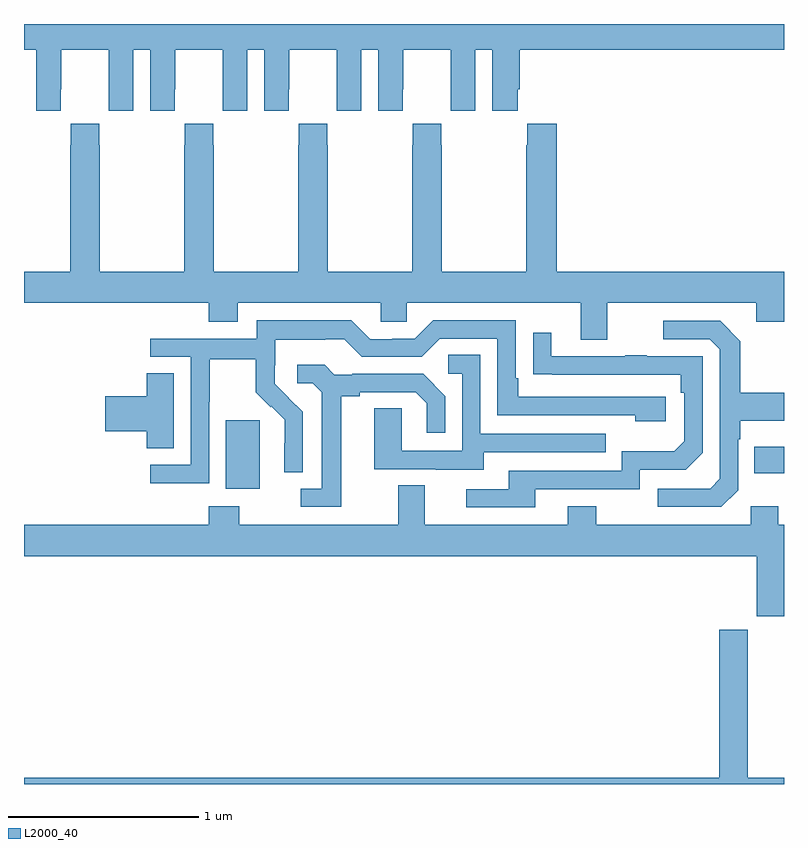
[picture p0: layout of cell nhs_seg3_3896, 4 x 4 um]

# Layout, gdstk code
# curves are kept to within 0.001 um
import gdstk
lib = gdstk.Library(unit=1e-6, precision=1e-09)
def R(c, l, rs):  # rectangles x0, y0, x1, y1
    for r in rs: c.add(gdstk.rectangle(r[:2], r[2:], *l))
def P(c, l, *ps):  # polygons
    for p in ps: c.add(gdstk.Polygon(p, *l))
L2000_40 = (2000, 40)

nhs_seg3_3896 = lib.new_cell('nhs_seg3_3896')
R(nhs_seg3_3896, L2000_40, [(314.063,683.954,314.242,684.315), (316.843,684.035,317,684.175)])
P(nhs_seg3_3896, L2000_40, [(313.194,686.056),(313.195,686.056),(313.195,686.264),(313.445,686.264),(313.445,686.056),(313.446,686.056),(313.446,685.944),(313.576,685.944),(313.576,686.264),(313.664,686.264),(313.664,685.944),(313.794,685.944),(313.794,686.056),(313.795,686.056),(313.795,686.264),(314.045,686.264),(314.045,686.056),(314.046,686.056),(314.046,685.944),(314.176,685.944),(314.176,686.264),(314.264,686.264),(314.264,685.944),(314.394,685.944),(314.394,686.056),(314.395,686.056),(314.395,686.264),(314.645,686.264),(314.645,686.056),(314.646,686.056),(314.646,685.944),(314.776,685.944),(314.776,686.264),(314.864,686.264),(314.864,685.944),(314.994,685.944),(314.994,686.056),(314.995,686.056),(314.995,686.264),(315.245,686.264),(315.245,686.056),(315.246,686.056),(315.246,685.944),(315.376,685.944),(315.376,686.264),(315.464,686.264),(315.464,685.944),(315.598,685.944),(315.598,686.056),(315.608,686.056),(315.608,686.264),(317,686.264),(317,686.4),(313,686.4),(313,686.264),(313.064,686.264),(313.064,685.944),(313.194,685.944)],
  [(316.069,684.932),(316.853,684.932),(316.853,684.833),(317,684.833),(317,685.096),(315.803,685.096),(315.803,685.876),(315.649,685.876),(315.649,685.763),(315.643,685.763),(315.643,685.096),(315.198,685.096),(315.198,685.763),(315.195,685.763),(315.195,685.876),(315.045,685.876),(315.045,685.763),(315.043,685.763),(315.043,685.096),(314.598,685.096),(314.598,685.763),(314.595,685.763),(314.595,685.876),(314.445,685.876),(314.445,685.763),(314.443,685.763),(314.443,685.096),(313.998,685.096),(313.998,685.763),(313.995,685.763),(313.995,685.876),(313.845,685.876),(313.845,685.763),(313.843,685.763),(313.843,685.096),(313.398,685.096),(313.398,685.763),(313.395,685.763),(313.395,685.876),(313.245,685.876),(313.245,685.763),(313.243,685.763),(313.243,685.096),(313,685.096),(313,684.932),(313.973,684.932),(313.973,684.833),(314.125,684.833),(314.125,684.932),(314.877,684.932),(314.877,684.834),(315.015,684.834),(315.015,684.932),(315.929,684.932),(315.929,684.738),(316.069,684.738)],
  [(313.974,684.412),(313.977,684.412),(313.977,684.636),(314.221,684.636),(314.221,684.461),(314.298,684.384),(314.301,684.387),(314.372,684.317),(314.372,684.194),(314.37,684.194),(314.37,684.04),(314.466,684.04),(314.466,684.358),(314.32,684.506),(314.32,684.603),(314.322,684.603),(314.322,684.737),(314.585,684.737),(314.585,684.741),(314.685,684.741),(314.778,684.648),(315.093,684.648),(315.189,684.744),(315.492,684.744),(315.492,684.342),(316.217,684.342),(316.217,684.308),(316.378,684.308),(316.378,684.438),(315.601,684.438),(315.601,684.535),(315.588,684.535),(315.588,684.84),(315.153,684.84),(315.057,684.744),(314.939,684.744),(314.939,684.741),(314.823,684.741),(314.723,684.841),(314.226,684.841),(314.226,684.744),(313.665,684.744),(313.665,684.648),(313.878,684.648),(313.878,684.081),(313.665,684.081),(313.665,683.983),(313.974,683.983)],
  [(316.758,683.946),(316.758,684.215),(316.771,684.215),(316.771,684.311),(317,684.311),(317,684.459),(316.771,684.459),(316.771,684.731),(316.665,684.837),(316.365,684.837),(316.365,684.741),(316.608,684.741),(316.662,684.687),(316.662,684.006),(316.611,683.955),(316.335,683.955),(316.335,683.859),(316.671,683.859)],
  [(315.691,683.952),(316.242,683.952),(316.242,684.054),(316.482,684.054),(316.572,684.144),(316.572,684.651),(316.277,684.651),(316.277,684.656),(316.165,684.656),(316.165,684.651),(315.775,684.651),(315.775,684.775),(315.679,684.775),(315.679,684.556),(316.456,684.555),(316.456,684.458),(316.476,684.458),(316.476,684.204),(316.423,684.151),(316.146,684.151),(316.146,684.048),(315.551,684.048),(315.551,683.952),(315.327,683.952),(315.327,683.856),(315.691,683.856)],
  [(315.421,684.147),(316.061,684.147),(316.061,684.243),(315.402,684.243),(315.402,684.659),(315.234,684.659),(315.234,684.558),(315.306,684.558),(315.306,684.153),(314.988,684.153),(314.988,684.377),(314.843,684.377),(314.843,684.057),(315.167,684.057),(315.167,684.053),(315.421,684.053)],
  [(314.671,684.44),(314.767,684.44),(314.767,684.462),(315.062,684.462),(315.119,684.405),(315.119,684.249),(315.216,684.249),(315.216,684.442),(315.1,684.558),(314.728,684.558),(314.728,684.555),(314.634,684.555),(314.582,684.607),(314.439,684.607),(314.439,684.51),(314.52,684.51),(314.567,684.463),(314.567,683.955),(314.457,683.955),(314.457,683.859),(314.671,683.859)],
  [(313.789,684.563),(313.646,684.563),(313.646,684.44),(313.428,684.44),(313.428,684.257),(313.646,684.257),(313.646,684.166),(313.789,684.166)],
  [(317,683.764),(316.971,683.764),(316.971,683.863),(316.824,683.863),(316.824,683.764),(316.011,683.764),(316.011,683.863),(315.863,683.863),(315.863,683.764),(315.109,683.764),(315.109,683.972),(314.969,683.972),(314.969,683.764),(314.133,683.764),(314.133,683.863),(313.973,683.863),(313.973,683.764),(313,683.764),(313,683.6),(316.856,683.6),(316.856,683.283),(317,683.283)],
  [(317,682.432),(316.81,682.432),(316.81,683.211),(316.658,683.211),(316.658,682.432),(313,682.432),(313,682.4),(317,682.4)])

lib.write_gds('nhs_seg3_3896.gds')
